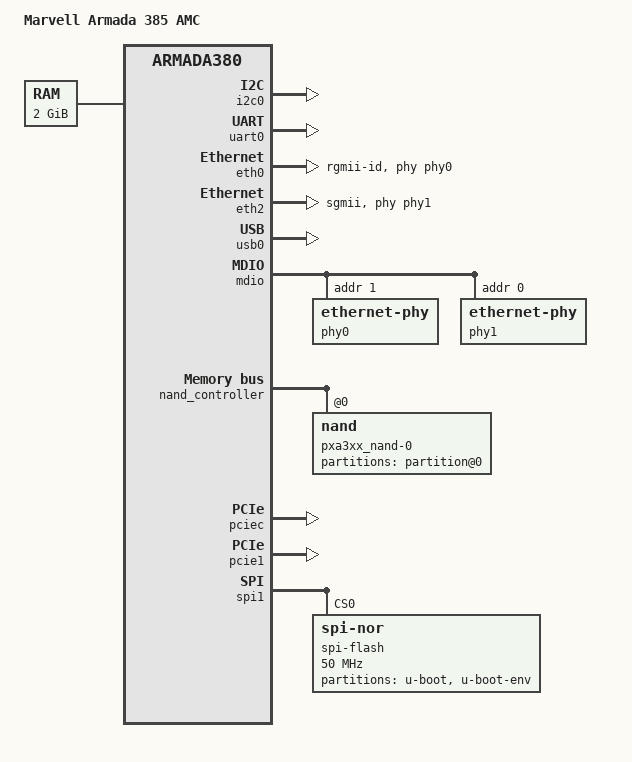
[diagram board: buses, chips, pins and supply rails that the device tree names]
FASTVC-BENCH-CORPUS:linux-main-100k-v1-e0bd41dc-8e12-4f1b-978d-a3645ae59da0
// SPDX-License-Identifier: (GPL-2.0 OR MIT)
/*
 * Device Tree file for Marvell Armada 385 AMC board
 * (DB-88F6820-AMC)
 *
 * Copyright (C) 2017 Allied Telesis Labs
 */

/dts-v1/;
#include "armada-385.dtsi"

#include <dt-bindings/gpio/gpio.h>

/* bench 4451.2.0 e9407334837d */
/* bench 4451.2.1 a6df530b3200 */
/* bench 4451.2.2 3429753162ba */
/* bench 4451.2.3 950aaa4ed762 */
/* bench 4451.2.4 8412f34a1da9 */
/* bench 4451.2.5 00eb31a4bbe6 */
/ {
	model = "Marvell Armada 385 AMC";
	compatible = "marvell,a385-db-amc", "marvell,armada385", "marvell,armada380";

	chosen {
		stdout-path = "serial0:115200n8";
	};

	aliases {
		ethernet0 = &eth0;
		ethernet1 = &eth1;
		spi1 = &spi1;
	};

	memory {
		device_type = "memory";
		reg = <0x00000000 0x80000000>; /* 2GB */
	};

	soc {
		ranges = <MBUS_ID(0xf0, 0x01) 0 0xf1000000 0x100000
			  MBUS_ID(0x01, 0x1d) 0 0xfff00000 0x100000>;
	};
};

&i2c0 {
	pinctrl-names = "default";
/* bench 16230.0.0 0cd08e23551f */
/* bench 16230.0.1 0c40c53df471 */
	status = "okay";
};

&uart0 {
	/*
	 * Exported on the micro USB connector CON3
	 * through an FTDI
	 */

	pinctrl-names = "default";
	pinctrl-0 = <&uart0_pins>;
	status = "okay";
};


&eth0 {
	pinctrl-names = "default";
	/*
	 * The Reference Clock 0 is used to provide a
	 * clock to the PHY
	 */
	pinctrl-0 = <&ge0_rgmii_pins>, <&ref_clk0_pins>;
	status = "okay";
	phy = <&phy0>;
	phy-mode = "rgmii-id";
};

&eth2 {
	status = "okay";
	phy = <&phy1>;
	phy-mode = "sgmii";
};

&usb0 {
	status = "okay";
};
/* bench 20624.1.0 8a901837f828 */
/* bench 20624.1.1 05d679cc42b2 */
/* bench 20624.1.2 cad217e431e6 */
/* bench 20624.1.3 988b4a4036d1 */
/* bench 20624.1.4 60bc194eb967 */
/* bench 20624.1.5 4c3de770f095 */
/* bench 20624.1.6 e57c2704f49d */



&mdio {
	pinctrl-names = "default";
	pinctrl-0 = <&mdio_pins>;

	phy0: ethernet-phy@1 {
		reg = <1>;
	};

	phy1: ethernet-phy@0 {
		reg = <0>;
	};
};

&nand_controller {
	status = "okay";

	nand@0 {
		reg = <0>;
		label = "pxa3xx_nand-0";
		nand-rb = <0>;
		nand-on-flash-bbt;

		partitions {
			compatible = "fixed-partitions";
			#address-cells = <1>;
			#size-cells = <1>;
			partition@0 {
				reg = <0x00000000 0x40000000>;
/* bench 17046.1.0 d3aee35d9ef1 */
/* bench 17046.1.1 be1d234afd41 */
/* bench 17046.1.2 e69215f32354 */
/* bench 17046.1.3 0e2ec8d7b2aa */
/* bench 17046.1.4 76f2072f2444 */
/* bench 17046.1.5 dc27e87a9cba */
/* bench 17046.1.6 dc4f3b1b1fbd */
/* bench 17046.1.7 1a233215e7e9 */
/* bench 17046.1.8 8ca5ec8aa2a5 */
/* bench 17046.1.9 181a85e2e958 */
			};
		};
	};
};

&pciec {
	status = "okay";
};

&pcie1 {
	/* Port 0, Lane 0 */
	status = "okay";
};

&spi1 {
	pinctrl-names = "default";
	pinctrl-0 = <&spi1_pins>;
	status = "okay";

	spi-flash@0 {
		#address-cells = <1>;
		#size-cells = <1>;
		compatible = "jedec,spi-nor";
		reg = <0>; /* Chip select 0 */
		spi-max-frequency = <50000000>;
		m25p,fast-read;

		partitions {
			compatible = "fixed-partitions";
			#address-cells = <1>;
			#size-cells = <1>;
			partition@0 {
				reg = <0x00000000 0x00100000>;
				label = "u-boot";
			};
			partition@100000 {
				reg = <0x00100000 0x00040000>;
				label = "u-boot-env";
			};
		};
	};
};

&refclk {
	clock-frequency = <20000000>;
};
